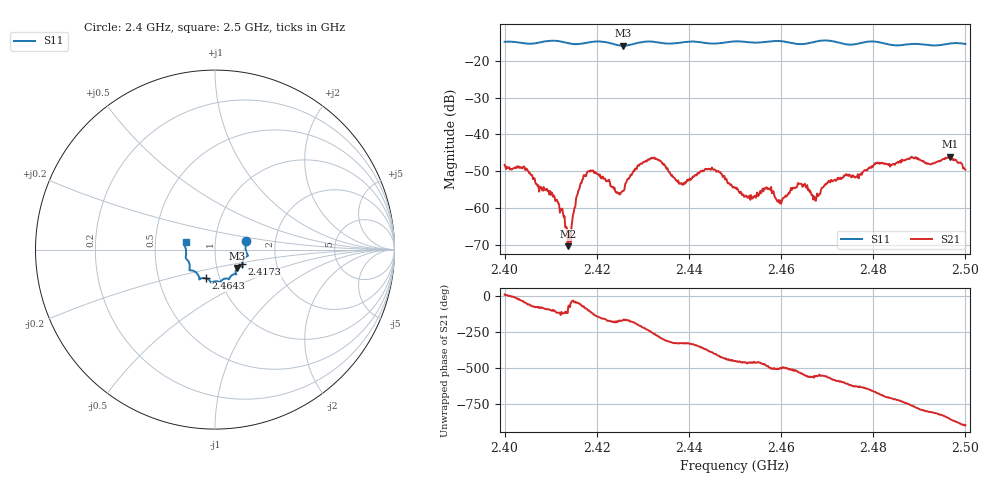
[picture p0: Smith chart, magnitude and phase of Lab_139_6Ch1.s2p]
# Hz S RI R 50
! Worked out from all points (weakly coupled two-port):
!   601 points, 2.4 GHz to 2.5 GHz, reference 50 ohm
!   highest |S21| = -46.00 dB at 2.4967 GHz (marker M1); lowest = -70.3 dB at 2.4138 GHz (marker M2)
!   lowest |S11| = -15.9 dB at 2.4257 GHz (marker M3), VSWR 1.38, Z = 62.4 - j13.2 ohm
!   |S11| at or under -10 dB: start of sweep to end of sweep
!   S12 and S22 are empty: the file has one direction only
!   S11 on the Smith chart (normalised r, x): 2.4 GHz: 1.41, +0.14; 2.4173 GHz: 1.34, -0.23; 2.4643 GHz: 0.86, -0.28; 2.5 GHz: 0.72, +0.06
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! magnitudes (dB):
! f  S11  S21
! 2.4 GHz  -14.9  -48.2
! 2.4045 GHz  -15.3  -49.7
! 2.4103 GHz  -14.6  -56.0
! 2.4125 GHz  -14.8  -60.1
! 2.4138 GHz  -15.2  -70.3
! 2.4167 GHz  -15.4  -53.2
! 2.4173 GHz  -15.2  -51.1
! 2.4192 GHz  -14.8  -49.7
! 2.4257 GHz  -15.9  -55.3
! 2.4293 GHz  -15.0  -48.2
! 2.4333 GHz  -15.0  -47.0
! 2.4383 GHz  -15.1  -53.2
! 2.4447 GHz  -15.3  -49.5
! 2.45 GHz  -14.7  -54.5
! 2.4533 GHz  -15.0  -57.7
! 2.4573 GHz  -14.8  -54.7
! 2.4597 GHz  -14.7  -58.6
! 2.4643 GHz  -15.5  -53.4
! 2.4667 GHz  -15.0  -56.5
! 2.4833 GHz  -15.6  -48.3
! 2.4967 GHz  -15.3  -46.0
! 2.5 GHz  -15.5  -49.6
